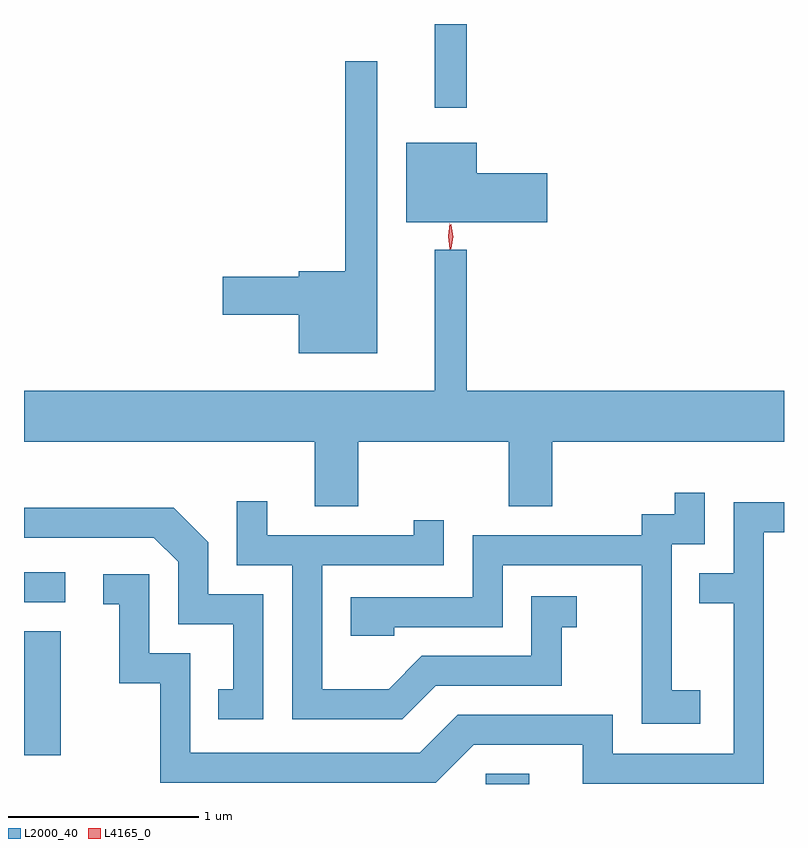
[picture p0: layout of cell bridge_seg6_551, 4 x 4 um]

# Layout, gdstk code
import gdstk
lib = gdstk.Library(unit=1e-6, precision=1e-09)
def R(c, l, rs):  # rectangles x0, y0, x1, y1
    for r in rs: c.add(gdstk.rectangle(r[:2], r[2:], *l))
def P(c, l, *ps):  # polygons
    for p in ps: c.add(gdstk.Polygon(p, *l))
L2000_40 = (2000, 40)
L4165_0 = (4165, 0)

bridge_seg6_551 = lib.new_cell('bridge_seg6_551')
R(bridge_seg6_551, L2000_40, [(460.481,1663.675,460.709,1663.729), (458.05,1663.826,458.244,1664.479), (458.05,1664.631,458.268,1664.789), (460.211,1667.233,460.379,1667.675)])
P(bridge_seg6_551, L2000_40, [(459.909,1667.478),(459.741,1667.478),(459.741,1666.374),(459.496,1666.374),(459.496,1666.344),(459.096,1666.344),(459.096,1666.146),(459.496,1666.146),(459.496,1665.941),(459.909,1665.941)],
  [(460.804,1666.889),(460.434,1666.889),(460.434,1667.049),(460.061,1667.049),(460.061,1666.631),(460.804,1666.631)],
  [(459.809,1665.476),(460.601,1665.476),(460.601,1665.136),(460.829,1665.136),(460.829,1665.476),(462.05,1665.476),(462.05,1665.744),(460.379,1665.744),(460.379,1666.488),(460.211,1666.488),(460.211,1665.744),(458.05,1665.744),(458.05,1665.476),(459.581,1665.476),(459.581,1665.136),(459.809,1665.136)],
  [(461.609,1664.169),(461.459,1664.169),(461.459,1664.936),(461.634,1664.936),(461.634,1665.208),(461.476,1665.208),(461.476,1665.094),(461.301,1665.094),(461.301,1664.984),(460.411,1664.984),(460.411,1664.659),(459.771,1664.659),(459.771,1664.456),(459.999,1664.456),(459.999,1664.501),(460.569,1664.501),(460.569,1664.826),(461.301,1664.826),(461.301,1663.991),(461.609,1663.991)],
  [(460.217,1664.191),(460.879,1664.191),(460.879,1664.501),(460.958,1664.501),(460.958,1664.664),(460.721,1664.664),(460.721,1664.349),(460.144,1664.349),(459.969,1664.174),(459.619,1664.174),(459.619,1664.826),(460.259,1664.826),(460.259,1665.063),(460.101,1665.063),(460.101,1664.984),(459.329,1664.984),(459.329,1665.163),(459.171,1665.163),(459.171,1664.826),(459.461,1664.826),(459.461,1664.016),(460.042,1664.016)],
  [(461.944,1665.001),(462.05,1665.001),(462.05,1665.159),(461.786,1665.159),(461.786,1664.784),(461.603,1664.784),(461.603,1664.626),(461.786,1664.626),(461.786,1663.834),(461.149,1663.834),(461.149,1664.039),(460.334,1664.039),(460.134,1663.839),(458.924,1663.839),(458.924,1664.364),(458.709,1664.364),(458.709,1664.779),(458.468,1664.779),(458.468,1664.621),(458.551,1664.621),(458.551,1664.206),(458.766,1664.206),(458.766,1663.681),(460.217,1663.681),(460.417,1663.881),(460.991,1663.881),(460.991,1663.676),(461.944,1663.676)],
  [(459.309,1664.674),(459.019,1664.674),(459.019,1664.947),(458.837,1665.129),(458.05,1665.129),(458.05,1664.971),(458.734,1664.971),(458.861,1664.844),(458.861,1664.516),(459.151,1664.516),(459.151,1664.174),(459.073,1664.174),(459.073,1664.016),(459.309,1664.016)])
P(bridge_seg6_551, L4165_0, [(460.297,1666.493),(460.288,1666.556),(460.297,1666.619),(460.298,1666.62),(460.298,1666.619),(460.308,1666.556),(460.298,1666.493),(460.298,1666.493)],
  [(460.292,1666.49),(460.282,1666.558),(460.291,1666.626),(460.292,1666.626),(460.292,1666.626),(460.302,1666.558),(460.293,1666.49),(460.293,1666.49)])

lib.write_gds('bridge_seg6_551.gds')
